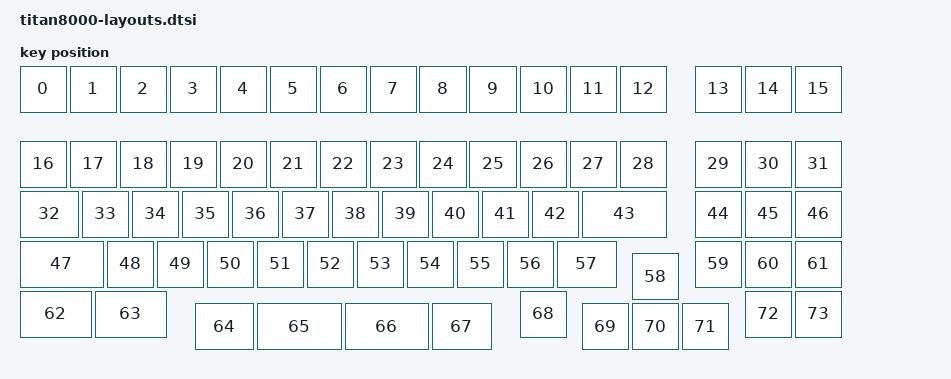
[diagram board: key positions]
#include <physical_layouts.dtsi>

/ {
	titan8000_physical_layout: titan8000_physical_layout {
		compatible = "zmk,physical-layout";
		display-name = "TITAN 8000";
		transform = <&default_transform>;
        kscan = <&kscan0>;

        keys  //                     w   h    x    y     rot    rx    ry
            = <&key_physical_attrs 100 100    0    0       0     0     0>
            , <&key_physical_attrs 100 100  100    0       0     0     0>
            , <&key_physical_attrs 100 100  200    0       0     0     0>
            , <&key_physical_attrs 100 100  300    0       0     0     0>
            , <&key_physical_attrs 100 100  400    0       0     0     0>
            , <&key_physical_attrs 100 100  500    0       0     0     0>
            , <&key_physical_attrs 100 100  600    0       0     0     0>
            , <&key_physical_attrs 100 100  700    0       0     0     0>
            , <&key_physical_attrs 100 100  800    0       0     0     0>
            , <&key_physical_attrs 100 100  900    0       0     0     0>
            , <&key_physical_attrs 100 100 1000    0       0     0     0>
            , <&key_physical_attrs 100 100 1100    0       0     0     0>
            , <&key_physical_attrs 100 100 1200    0       0     0     0>
            , <&key_physical_attrs 100 100 1350    0       0     0     0>
            , <&key_physical_attrs 100 100 1450    0       0     0     0>
            , <&key_physical_attrs 100 100 1550    0       0     0     0>
            , <&key_physical_attrs 100 100    0  150       0     0     0>
            , <&key_physical_attrs 100 100  100  150       0     0     0>
            , <&key_physical_attrs 100 100  200  150       0     0     0>
            , <&key_physical_attrs 100 100  300  150       0     0     0>
            , <&key_physical_attrs 100 100  400  150       0     0     0>
            , <&key_physical_attrs 100 100  500  150       0     0     0>
            , <&key_physical_attrs 100 100  600  150       0     0     0>
            , <&key_physical_attrs 100 100  700  150       0     0     0>
            , <&key_physical_attrs 100 100  800  150       0     0     0>
            , <&key_physical_attrs 100 100  900  150       0     0     0>
            , <&key_physical_attrs 100 100 1000  150       0     0     0>
            , <&key_physical_attrs 100 100 1100  150       0     0     0>
            , <&key_physical_attrs 100 100 1200  150       0     0     0>
            , <&key_physical_attrs 100 100 1350  150       0     0     0>
            , <&key_physical_attrs 100 100 1450  150       0     0     0>
            , <&key_physical_attrs 100 100 1550  150       0     0     0>
            , <&key_physical_attrs 125 100    0  250       0     0     0>
            , <&key_physical_attrs 100 100  125  250       0     0     0>
            , <&key_physical_attrs 100 100  225  250       0     0     0>
            , <&key_physical_attrs 100 100  325  250       0     0     0>
            , <&key_physical_attrs 100 100  425  250       0     0     0>
            , <&key_physical_attrs 100 100  525  250       0     0     0>
            , <&key_physical_attrs 100 100  625  250       0     0     0>
            , <&key_physical_attrs 100 100  725  250       0     0     0>
            , <&key_physical_attrs 100 100  825  250       0     0     0>
            , <&key_physical_attrs 100 100  925  250       0     0     0>
            , <&key_physical_attrs 100 100 1025  250       0     0     0>
            , <&key_physical_attrs 175 100 1125  250       0     0     0>
            , <&key_physical_attrs 100 100 1350  250       0     0     0>
            , <&key_physical_attrs 100 100 1450  250       0     0     0>
            , <&key_physical_attrs 100 100 1550  250       0     0     0>
            , <&key_physical_attrs 175 100    0  350       0     0     0>
            , <&key_physical_attrs 100 100  175  350       0     0     0>
            , <&key_physical_attrs 100 100  275  350       0     0     0>
            , <&key_physical_attrs 100 100  375  350       0     0     0>
            , <&key_physical_attrs 100 100  475  350       0     0     0>
            , <&key_physical_attrs 100 100  575  350       0     0     0>
            , <&key_physical_attrs 100 100  675  350       0     0     0>
            , <&key_physical_attrs 100 100  775  350       0     0     0>
            , <&key_physical_attrs 100 100  875  350       0     0     0>
            , <&key_physical_attrs 100 100  975  350       0     0     0>
            , <&key_physical_attrs 125 100 1075  350       0     0     0>
            , <&key_physical_attrs 100 100 1225  375       0     0     0>
            , <&key_physical_attrs 100 100 1350  350       0     0     0>
            , <&key_physical_attrs 100 100 1450  350       0     0     0>
            , <&key_physical_attrs 100 100 1550  350       0     0     0>
            , <&key_physical_attrs 150 100    0  450       0     0     0>
            , <&key_physical_attrs 150 100  150  450       0     0     0>
            , <&key_physical_attrs 125 100  350  475       0     0     0>
            , <&key_physical_attrs 175 100  475  475       0     0     0>
            , <&key_physical_attrs 175 100  650  475       0     0     0>
            , <&key_physical_attrs 125 100  825  475       0     0     0>
            , <&key_physical_attrs 100 100 1000  450       0     0     0>
            , <&key_physical_attrs 100 100 1125  475       0     0     0>
            , <&key_physical_attrs 100 100 1225  475       0     0     0>
            , <&key_physical_attrs 100 100 1325  475       0     0     0>
            , <&key_physical_attrs 100 100 1450  450       0     0     0>
            , <&key_physical_attrs 100 100 1550  450       0     0     0>
            ;
    };

	position_map {
        compatible = "zmk,physical-layout-position-map";

        complete;

        layout1: layout1 {
            physical-layout = <&titan8000_physical_layout>;
            positions = <
                0  1  2  3  4  5  6  7  8  9  10 11 12 13 14 15
				16 17 18 19 20 21 22 23 24 25 26 27 28 29 30 31
				32 33 34 35 36 37 38 39 40 41 42 43 44 45 46
				47 48 49 50 51 52 53 54 55 56 57 58 59 60 61
				62 63 64 65 66 67 68 69 70 71 72 73
            >;
        };
    };
};
